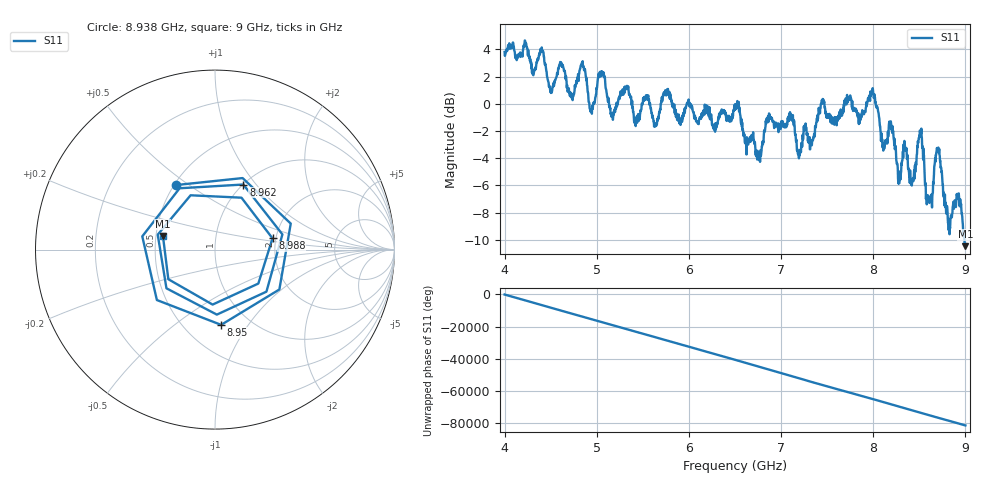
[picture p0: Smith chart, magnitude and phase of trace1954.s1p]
! Created with skrf 1.8.0 (http://scikit-rf.org).
# Hz S RI R 50.0
!freq ReS11 ImS11
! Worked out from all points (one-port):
!   1601 points, 4 GHz to 9 GHz, reference 50 ohm
!   lowest |S11| = -10.5 dB at 9 GHz (marker M1), VSWR 1.86, Z = 27.2 + j4.56 ohm
!   |S11| at or under -10 dB: 8.989538 GHz to end of sweep
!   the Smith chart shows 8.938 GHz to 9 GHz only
!   S11 on the Smith chart (normalised r, x): 8.938 GHz: 0.51, +0.45; 8.95 GHz: 0.74, -0.76; 8.962 GHz: 1.00, +0.86; 8.988 GHz: 1.92, +0.27; 9 GHz: 0.54, +0.09
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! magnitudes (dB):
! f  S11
! 4 GHz  3.8
! 4.625 GHz  2.7
! 4.731 GHz  0.4
! 4.85 GHz  2.7
! 4.938 GHz  -0.4
! 5.044 GHz  2.3
! 5.159 GHz  -0.9
! 5.25 GHz  0.4
! 5.875 GHz  -1.1
! 6.5 GHz  -0.5
! 6.747 GHz  -3.5
! 6.859 GHz  -0.9
! 7.125 GHz  -1.3
! 7.197 GHz  -3.5
! 7.75 GHz  0.6
! 7.994 GHz  1.1
! 8.278 GHz  -5.9
! 8.375 GHz  -4.3
! 8.431 GHz  -5.7
! 8.509 GHz  -2.1
! 8.597 GHz  -6.8
! 8.697 GHz  -3.3
! 8.812 GHz  -8.8
! 8.938 GHz  -7.5
! 8.95 GHz  -7.5
! 8.962 GHz  -8.1
! 8.988 GHz  -9.7
! 9 GHz  -10.5
